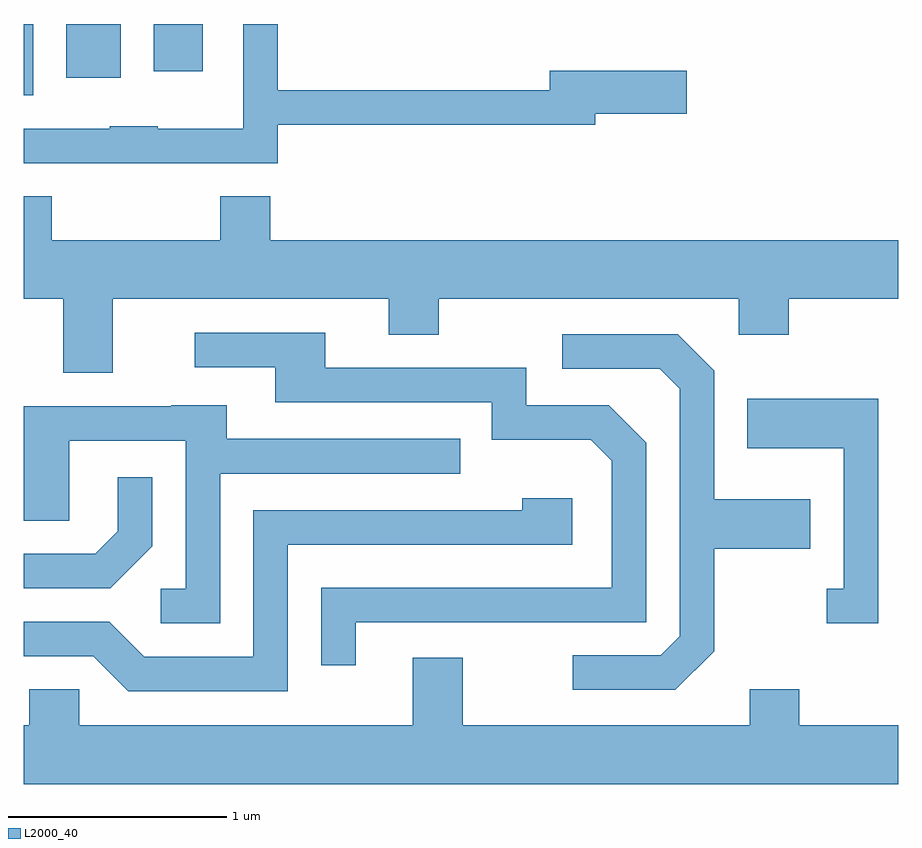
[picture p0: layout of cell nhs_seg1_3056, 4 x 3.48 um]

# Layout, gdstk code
import gdstk
lib = gdstk.Library(unit=1e-6, precision=1e-09)
def R(c, l, rs):  # rectangles x0, y0, x1, y1
    for r in rs: c.add(gdstk.rectangle(r[:2], r[2:], *l))
def P(c, l, *ps):  # polygons
    for p in ps: c.add(gdstk.Polygon(p, *l))
L2000_40 = (2000, 40)

nhs_seg1_3056 = lib.new_cell('nhs_seg1_3056')
R(nhs_seg1_3056, L2000_40, [(277.611,909.386,277.654,909.712), (277.806,909.466,278.054,909.712), (278.206,909.496,278.429,909.712)])
P(nhs_seg1_3056, L2000_40, [(278.774,909.251),(280.224,909.251),(280.224,909.301),(280.644,909.301),(280.644,909.499),(280.016,909.499),(280.016,909.409),(278.774,909.409),(278.774,909.712),(278.616,909.712),(278.616,909.234),(278.225,909.234),(278.225,909.244),(278.005,909.244),(278.005,909.234),(277.611,909.234),(277.611,909.076),(278.774,909.076)],
  [(278.019,908.456),(279.281,908.456),(279.281,908.291),(279.509,908.291),(279.509,908.456),(280.881,908.456),(280.881,908.291),(281.109,908.291),(281.109,908.456),(281.611,908.456),(281.611,908.724),(278.739,908.724),(278.739,908.924),(278.511,908.924),(278.511,908.724),(277.739,908.724),(277.739,908.924),(277.611,908.924),(277.611,908.456),(277.791,908.456),(277.791,908.116),(278.019,908.116)],
  [(279.129,906.976),(280.459,906.976),(280.459,907.797),(280.287,907.969),(279.909,907.969),(279.909,908.139),(278.989,908.139),(278.989,908.299),(278.393,908.299),(278.393,908.141),(278.761,908.141),(278.761,907.981),(279.751,907.981),(279.751,907.811),(280.204,907.811),(280.301,907.714),(280.301,907.134),(278.971,907.134),(278.971,906.778),(279.129,906.778)],
  [(280.769,906.844),(280.769,907.311),(281.209,907.311),(281.209,907.539),(280.769,907.539),(280.769,908.127),(280.602,908.294),(280.073,908.294),(280.073,908.136),(280.519,908.136),(280.611,908.044),(280.611,906.912),(280.524,906.824),(280.123,906.824),(280.123,906.666),(280.592,906.666)],
  [(281.519,907.999),(280.921,907.999),(280.921,907.771),(281.361,907.771),(281.361,907.129),(281.283,907.129),(281.283,906.971),(281.519,906.971)],
  [(278.509,907.656),(279.608,907.656),(279.608,907.814),(278.539,907.814),(278.539,907.969),(278.285,907.969),(278.285,907.964),(277.611,907.964),(277.611,907.441),(277.819,907.441),(277.819,907.806),(278.351,907.806),(278.351,907.129),(278.238,907.129),(278.238,906.971),(278.509,906.971)],
  [(278.199,907.324),(278.199,907.638),(278.041,907.638),(278.041,907.392),(277.939,907.289),(277.611,907.289),(277.611,907.131),(278.007,907.131)],
  [(278.819,907.331),(280.119,907.331),(280.119,907.544),(279.891,907.544),(279.891,907.489),(278.661,907.489),(278.661,906.819),(278.162,906.819),(278.002,906.979),(277.611,906.979),(277.611,906.821),(277.929,906.821),(278.089,906.661),(278.819,906.661)],
  [(281.611,906.504),(281.159,906.504),(281.159,906.669),(280.931,906.669),(280.931,906.504),(279.619,906.504),(279.619,906.814),(279.391,906.814),(279.391,906.504),(277.864,906.504),(277.864,906.669),(277.636,906.669),(277.636,906.504),(277.611,906.504),(277.611,906.236),(281.611,906.236)])

lib.write_gds('nhs_seg1_3056.gds')
